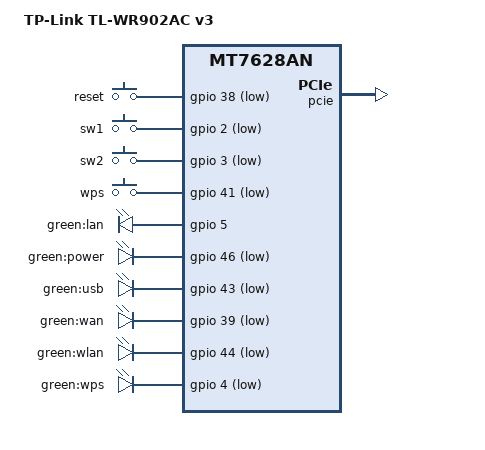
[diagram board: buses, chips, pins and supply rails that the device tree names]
#include "mt7628an_tplink_8m.dtsi"

/ {
	compatible = "tplink,tl-wr902ac-v3", "mediatek,mt7628an-soc";
	model = "TP-Link TL-WR902AC v3";

	aliases {
		led-boot = &led_power;
		led-failsafe = &led_power;
		led-running = &led_power;
		led-upgrade = &led_power;
	};

	keys {
		compatible = "gpio-keys";

		reset {
			label = "reset";
			gpios = <&gpio 38 GPIO_ACTIVE_LOW>;
			linux,code = <KEY_RESTART>;
		};

		sw1 {
			label = "sw1";
			gpios = <&gpio 2 GPIO_ACTIVE_LOW>;
			linux,code = <BTN_0>;
		};

		sw2 {
			label = "sw2";
			gpios = <&gpio 3 GPIO_ACTIVE_LOW>;
			linux,code = <BTN_1>;
		};

		wps {
			label = "wps";
			gpios = <&gpio 41 GPIO_ACTIVE_LOW>;
			linux,code = <KEY_WPS_BUTTON>;
		};
	};

	leds {
		compatible = "gpio-leds";

		lan {
			label = "green:lan";
			gpios = <&gpio 5 GPIO_ACTIVE_HIGH>;
		};

		led_power: power {
			label = "green:power";
			gpios = <&gpio 46 GPIO_ACTIVE_LOW>;
		};

		usb {
			label = "green:usb";
			gpios = <&gpio 43 GPIO_ACTIVE_LOW>;
			trigger-sources = <&ohci_port1>, <&ehci_port1>;
			linux,default-trigger = "usbport";
		};

		wan {
			label = "green:wan";
			gpios = <&gpio 39 GPIO_ACTIVE_LOW>;
		};

		wlan {
			label = "green:wlan";
			gpios = <&gpio 44 GPIO_ACTIVE_LOW>;
		};

		wps {
			label = "green:wps";
			gpios = <&gpio 4 GPIO_ACTIVE_LOW>;
		};
	};
};

&state_default {
	gpio {
		groups = "i2c", "i2s", "p0led_an", "p2led_an", "p4led_an", "uart1", "wdt", "wled_an";
		function = "gpio";
	};
};

&pcie {
	status = "okay";
};

&pcie0 {
	mt76@0,0 {
		reg = <0x0000 0 0 0 0>;
		mediatek,mtd-eeprom = <&factory 0x28000>;
		ieee80211-freq-limit = <5000000 6000000>;
		nvmem-cells = <&macaddr_factory_f100>;
		nvmem-cell-names = "mac-address";
		mac-address-increment = <(-1)>;
	};
};
